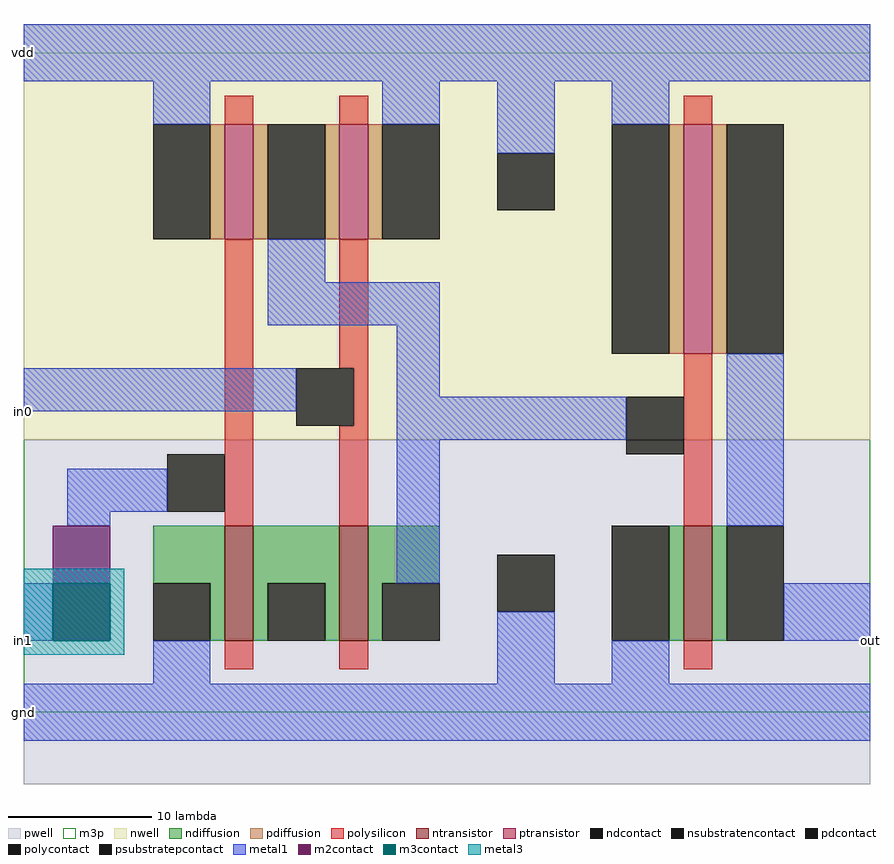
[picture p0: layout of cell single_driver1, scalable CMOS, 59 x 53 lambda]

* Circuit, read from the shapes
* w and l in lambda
.subckt single_driver1 gnd in0 in1 out vdd
M1 n1 in1 gnd gnd nfet w=8 l=2
M2 n2 in0 n1 gnd nfet w=8 l=2
M3 out n2 gnd gnd nfet w=8 l=2
M4 n2 in1 vdd vdd pfet w=8 l=2
M5 vdd in0 n2 vdd pfet w=8 l=2
M6 out n2 vdd vdd pfet w=16 l=2
.ends

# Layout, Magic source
magic
tech scmos
<< nwell >>
rect 0 19 59 48
<< pwell >>
rect 0 -5 59 19
<< ntransistor >>
rect 14 5 16 13
rect 22 5 24 13
rect 46 5 48 13
<< ptransistor >>
rect 14 33 16 41
rect 22 33 24 41
rect 46 25 48 41
<< ndiffusion >>
rect 9 9 14 13
rect 13 5 14 9
rect 16 9 22 13
rect 16 5 17 9
rect 21 5 22 9
rect 24 9 29 13
rect 24 5 25 9
rect 45 5 46 13
rect 48 5 49 13
<< pdiffusion >>
rect 13 33 14 41
rect 16 33 17 41
rect 21 33 22 41
rect 24 33 25 41
rect 45 25 46 41
rect 48 25 49 41
<< ndcontact >>
rect 9 5 13 9
rect 17 5 21 9
rect 25 5 29 9
rect 41 5 45 13
rect 49 5 53 13
<< pdcontact >>
rect 9 33 13 41
rect 17 33 21 41
rect 25 33 29 41
rect 41 25 45 41
rect 49 25 53 41
<< psubstratepcontact >>
rect 33 7 37 11
<< nsubstratencontact >>
rect 33 35 37 39
<< polysilicon >>
rect 14 41 16 43
rect 22 41 24 43
rect 46 41 48 43
rect 14 13 16 33
rect 22 24 24 33
rect 23 20 24 24
rect 22 13 24 20
rect 46 13 48 25
rect 14 3 16 5
rect 22 3 24 5
rect 46 3 48 5
<< polycontact >>
rect 10 14 14 18
rect 19 20 23 24
rect 42 18 46 22
<< metal1 >>
rect 0 44 59 48
rect 9 41 13 44
rect 25 41 29 44
rect 33 39 37 44
rect 41 41 45 44
rect 17 30 21 33
rect 17 27 29 30
rect 0 21 19 24
rect 26 22 29 27
rect 26 19 42 22
rect 3 14 10 17
rect 3 13 6 14
rect 26 9 29 19
rect 49 13 53 25
rect 0 5 6 9
rect 9 2 13 5
rect 33 2 37 7
rect 53 5 59 9
rect 41 2 45 5
rect 0 -2 59 2
<< m2contact >>
rect 2 9 6 13
<< m3contact >>
rect 2 5 6 9
<< metal3 >>
rect 0 9 7 10
rect 0 5 2 9
rect 6 5 7 9
rect 0 4 7 5
<< m3p >>
rect 0 0 59 46
<< labels >>
rlabel metal1 59 5 59 5 4 out
rlabel metal1 0 5 0 5 4 in1
rlabel metal1 0 46 0 46 4 vdd
rlabel metal1 0 0 0 0 4 gnd
rlabel metal1 0 21 0 21 4 in0
<< end >>
